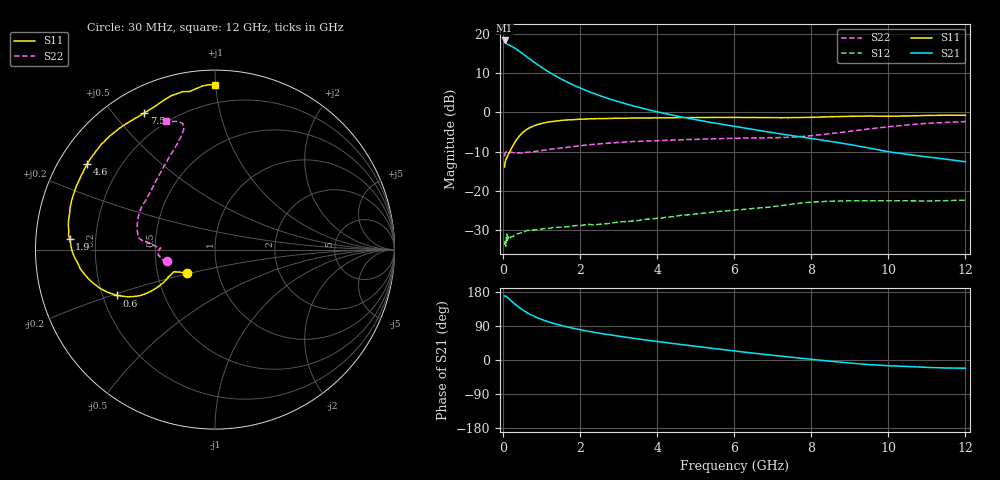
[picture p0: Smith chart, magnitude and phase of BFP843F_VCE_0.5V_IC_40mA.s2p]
! Infineon Technologies  Discrete & RF Semiconductors
! BFP843F
! VCE =  0.5 V,  IC =  40 mA
! Common Emitter S-Parameters:  Aug 2013
# GHz  S  MA  R  50
!  f  S11  S21  S12  S22
! GHz  MAG  ANG  MAG  ANG  MAG  ANG  MAG  ANG
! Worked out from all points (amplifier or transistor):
!   103 points, 30 MHz to 12 GHz, reference 50 ohm
!   highest |S21| = 18.3 dB at 30 MHz (marker M1)
!   |S21| within 3 dB of that: start of sweep to 446.2 MHz
!   unconditionally stable (mu >= 1): start of sweep to end of sweep
!   at 400 MHz: K = 2.16, MAG = 17.2 dB, |S12| = -30.9 dB
!   at 3.7 GHz: K = 2.53, MAG = 7.2 dB, |S12| = -27.3 dB
!   at 12 GHz: K = 2.44, MAG = -1.8 dB, |S12| = -22.4 dB
!   S11 on the Smith chart (normalised r, x): 30 MHz: 0.71, -0.19; 600 MHz: 0.26, -0.21; 1.9 GHz: 0.10, +0.04; 4.6 GHz: 0.08, +0.30; 7.5 GHz: 0.11, +0.60; 12 GHz: 0.09, +1.00
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0.03  0.2016 -140.4  8.255 168.7  0.0224 21.4  0.2745 -166.1
0.04  0.227 -145.9  7.964 168.0  0.0208 20.0  0.2949 -169.0
0.05  0.2348 -147.9  7.759 168.9  0.0235 7.6  0.3055 -170.9
0.07  0.2545 -151.1  7.563 167.7  0.0234 20.4  0.3113 -173.8
0.25  0.3789 -146.8  6.793 151.6  0.0262 11.8  0.3067 179.1
0.35  0.4561 -147.5  6.311 143.1  0.0283 11.5  0.3036 178.2
0.5  0.5531 -151.6  5.596 132.2  0.0292 13.2  0.3042 178.9
0.6  0.6043 -155.0  5.142 125.8  0.0311 15.3  0.3097 178.6
0.8  0.6765 -161.4  4.349 115.2  0.0316 13.7  0.3168 178.0
0.9  0.7031 -164.5  4.017 110.6  0.0322 14.1  0.3218 177.5
1.1  0.7424 -169.7  3.459 103.1  0.0333 14.8  0.3326 176.5
1.4  0.7791 -176.1  2.828 93.8  0.0343 15.9  0.3471 175.6
1.9  0.8119 175.8  2.137 82.0  0.0361 18.3  0.3708 174.0
2.1  0.8207 172.8  1.944 77.8  0.0367 18.8  0.3807 173.6
3  0.8414 162.4  1.362 62.9  0.0398 23.4  0.4137 172.5
4.1  0.8524 150.8  0.99 47.5  0.0448 25.9  0.4373 168.9
4.6  0.857 146.0  0.879 41.0  0.0486 26.3  0.4466 166.0
6.1  0.8618 132.0  0.652 22.7  0.0576 25.6  0.4691 153.8
7.5  0.8572 117.4  0.505 7.1  0.0678 23.6  0.4847 137.9
8.5  0.879 109.1  0.426 -3.3  0.0738 16.7  0.536 123.1
10.5  0.8996 97.4  0.291 -17.1  0.0745 9.4  0.692 104.5
12  0.9175 90.0  0.235 -21.7  0.0761 9.4  0.7638 110.8
